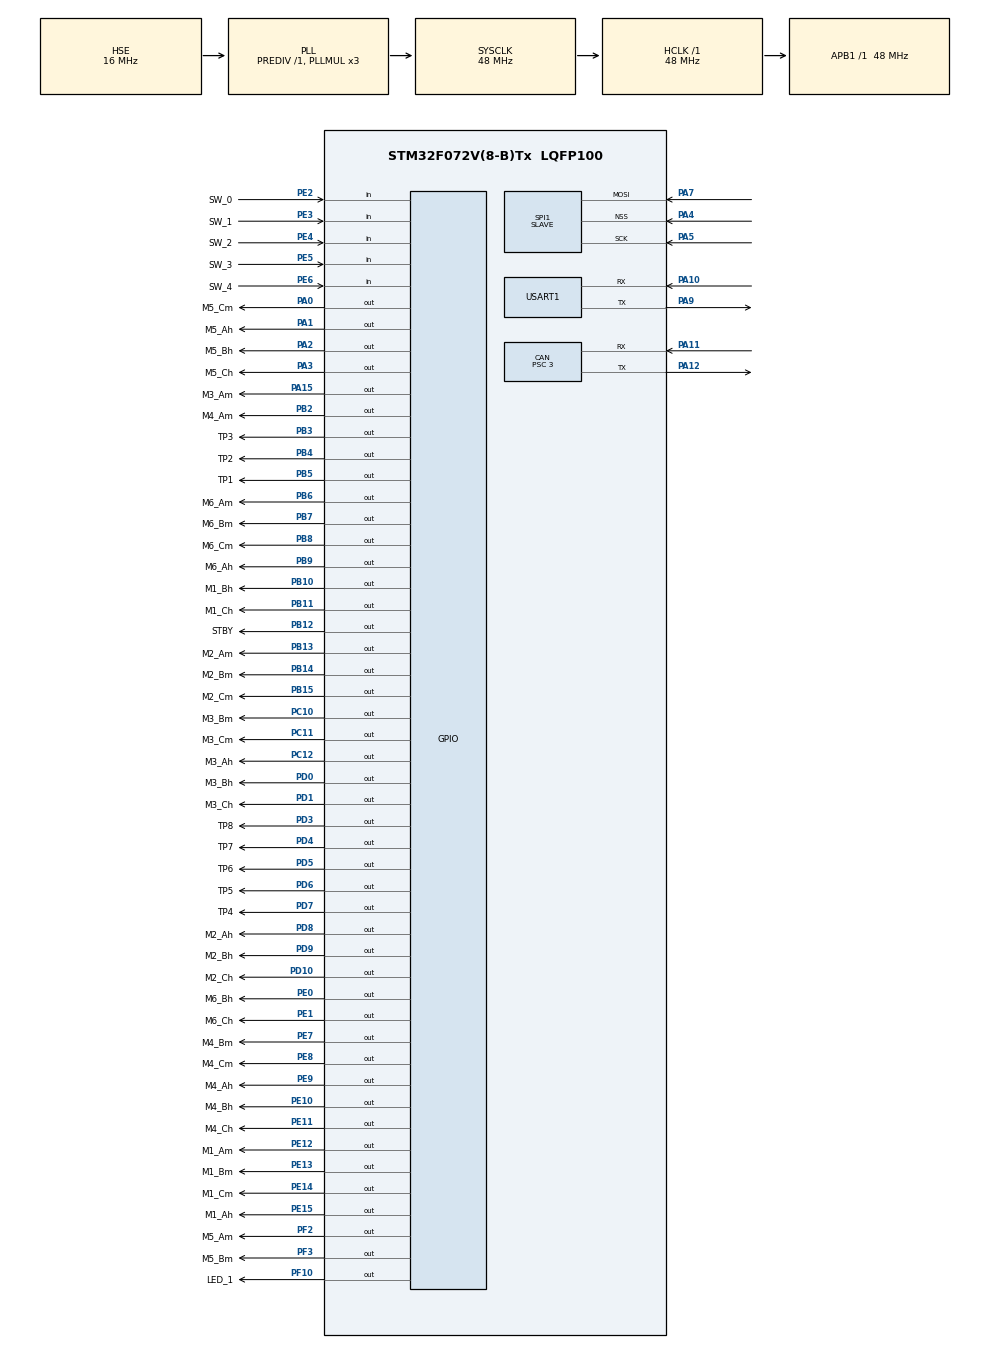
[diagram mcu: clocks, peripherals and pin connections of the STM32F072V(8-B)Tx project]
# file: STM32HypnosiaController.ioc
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CAN.BS1=CAN_BS1_13TQ
CAN.BS2=CAN_BS2_2TQ
CAN.CalculateTimeQuantum=62.5
CAN.Mode=CAN_MODE_NORMAL
CAN.Prescaler=3
Dma.Request0=SPI1_RX
Dma.SPI1_RX.0.Direction=DMA_PERIPH_TO_MEMORY
Dma.SPI1_RX.0.Instance=DMA1_Channel2
Dma.SPI1_RX.0.MemDataAlignment=DMA_MDATAALIGN_BYTE
Dma.SPI1_RX.0.MemInc=DMA_MINC_ENABLE
Dma.SPI1_RX.0.Mode=DMA_CIRCULAR
Dma.SPI1_RX.0.PeriphDataAlignment=DMA_PDATAALIGN_BYTE
Dma.SPI1_RX.0.PeriphInc=DMA_PINC_DISABLE
Dma.SPI1_RX.0.Priority=DMA_PRIORITY_LOW
Mcu.Family=STM32F0
Mcu.Name=STM32F072V(8-B)Tx
Mcu.Package=LQFP100
NVIC.CEC_CAN_IRQn=true\:0\:0\:true\:false\:true\:true\:true
NVIC.DMA1_Channel2_3_IRQn=true\:0\:0\:false\:false\:true\:false\:true
NVIC.SPI1_IRQn=true\:0\:0\:false\:false\:true\:true\:true
PA0.GPIO_Label=M5_Cm
PA0.Signal=GPIO_Output
PA1.GPIO_Label=M5_Ah
PA1.Signal=GPIO_Output
PA10.Mode=Asynchronous
PA10.Signal=USART1_RX
PA11.Mode=Master
PA11.Signal=CAN_RX
PA12.Mode=Master
PA12.Signal=CAN_TX
PA13.Mode=Serial_Wire
PA13.Signal=SYS_SWDIO
PA14.Mode=Serial_Wire
PA14.Signal=SYS_SWCLK
PA15.GPIO_Label=M3_Am
PA15.Signal=GPIO_Output
PA2.GPIO_Label=M5_Bh
PA2.Signal=GPIO_Output
PA3.GPIO_Label=M5_Ch
PA3.Signal=GPIO_Output
PA4.Mode=NSS_Signal_Hard_Input
PA4.Signal=SPI1_NSS
PA5.Mode=RX_Only_Simplex_Unidirect_Slave
PA5.Signal=SPI1_SCK
PA6.Signal=SPI1_MISO
PA7.Mode=RX_Only_Simplex_Unidirect_Slave
PA7.Signal=SPI1_MOSI
PA9.Mode=Asynchronous
PA9.Signal=USART1_TX
PB10.GPIO_Label=M1_Bh
PB10.Signal=GPIO_Output
PB11.GPIO_Label=M1_Ch
PB11.Signal=GPIO_Output
PB12.GPIO_Label=STBY
PB12.Signal=GPIO_Output
PB13.GPIO_Label=M2_Am
PB13.Signal=GPIO_Output
PB14.GPIO_Label=M2_Bm
PB14.Signal=GPIO_Output
PB15.GPIO_Label=M2_Cm
PB15.Signal=GPIO_Output
PB2.GPIO_Label=M4_Am
PB2.Signal=GPIO_Output
PB3.GPIO_Label=TP3
PB3.Signal=GPIO_Output
PB4.GPIO_Label=TP2
PB4.Signal=GPIO_Output
PB5.GPIO_Label=TP1
PB5.Signal=GPIO_Output
PB6.GPIO_Label=M6_Am
PB6.Signal=GPIO_Output
PB7.GPIO_Label=M6_Bm
PB7.Signal=GPIO_Output
PB8.GPIO_Label=M6_Cm
PB8.Signal=GPIO_Output
PB9.GPIO_Label=M6_Ah
PB9.Signal=GPIO_Output
PC10.GPIO_Label=M3_Bm
PC10.Signal=GPIO_Output
PC11.GPIO_Label=M3_Cm
PC11.Signal=GPIO_Output
PC12.GPIO_Label=M3_Ah
PC12.Signal=GPIO_Output
PD0.GPIO_Label=M3_Bh
PD0.Signal=GPIO_Output
PD1.GPIO_Label=M3_Ch
PD1.Signal=GPIO_Output
PD10.GPIO_Label=M2_Ch
PD10.Signal=GPIO_Output
PD3.GPIO_Label=TP8
PD3.Signal=GPIO_Output
PD4.GPIO_Label=TP7
PD4.Signal=GPIO_Output
PD5.GPIO_Label=TP6
PD5.Signal=GPIO_Output
PD6.GPIO_Label=TP5
PD6.Signal=GPIO_Output
PD7.GPIO_Label=TP4
PD7.Signal=GPIO_Output
PD8.GPIO_Label=M2_Ah
PD8.Signal=GPIO_Output
PD9.GPIO_Label=M2_Bh
PD9.Signal=GPIO_Output
PE0.GPIO_Label=M6_Bh
PE0.Signal=GPIO_Output
PE1.GPIO_Label=M6_Ch
PE1.Signal=GPIO_Output
PE10.GPIO_Label=M4_Bh
PE10.Signal=GPIO_Output
PE11.GPIO_Label=M4_Ch
PE11.Signal=GPIO_Output
PE12.GPIO_Label=M1_Am
PE12.Signal=GPIO_Output
PE13.GPIO_Label=M1_Bm
PE13.Signal=GPIO_Output
PE14.GPIO_Label=M1_Cm
PE14.Signal=GPIO_Output
PE15.GPIO_Label=M1_Ah
PE15.Signal=GPIO_Output
PE2.GPIO_Label=SW_0
PE2.GPIO_PuPd=GPIO_PULLDOWN
PE2.Signal=GPIO_Input
PE3.GPIO_Label=SW_1
PE3.GPIO_PuPd=GPIO_PULLDOWN
PE3.Signal=GPIO_Input
PE4.GPIO_Label=SW_2
PE4.GPIO_PuPd=GPIO_PULLDOWN
PE4.Signal=GPIO_Input
PE5.GPIO_Label=SW_3
PE5.GPIO_PuPd=GPIO_PULLDOWN
PE5.Signal=GPIO_Input
PE6.GPIO_Label=SW_4
PE6.GPIO_PuPd=GPIO_PULLDOWN
PE6.Signal=GPIO_Input
PE7.GPIO_Label=M4_Bm
PE7.Signal=GPIO_Output
PE8.GPIO_Label=M4_Cm
PE8.Signal=GPIO_Output
PE9.GPIO_Label=M4_Ah
PE9.Signal=GPIO_Output
PF0-OSC_IN.Mode=HSE-External-Oscillator
PF0-OSC_IN.Signal=RCC_OSC_IN
PF1-OSC_OUT.Mode=HSE-External-Oscillator
PF1-OSC_OUT.Signal=RCC_OSC_OUT
PF10.GPIO_Label=LED_1
PF10.Signal=GPIO_Output
PF2.GPIO_Label=M5_Am
PF2.Signal=GPIO_Output
PF3.GPIO_Label=M5_Bm
PF3.Signal=GPIO_Output
ProjectManager.HeapSize=0x1000
ProjectManager.StackSize=0x1000
ProjectManager.TargetToolchain=STM32CubeIDE
RCC.AHBFreq_Value=48000000
RCC.APB1Freq_Value=48000000
RCC.APB1TimFreq_Value=48000000
RCC.HCLKFreq_Value=48000000
RCC.HSE_VALUE=16000000
RCC.PLLMUL=RCC_PLL_MUL3
RCC.PLLSourceVirtual=RCC_PLLSOURCE_HSE
RCC.SYSCLKFreq_VALUE=48000000
RCC.SYSCLKSource=RCC_SYSCLKSOURCE_PLLCLK
SPI1.DataSize=SPI_DATASIZE_8BIT
SPI1.Direction=SPI_DIRECTION_2LINES_RXONLY
SPI1.Mode=SPI_MODE_SLAVE
SPI1.VirtualNSS=VM_NSSHARD
SPI1.VirtualType=VM_SLAVE
TIM1.Channel-Output\ Compare1\ No\ Output=TIM_CHANNEL_1
USART1.VirtualMode-Asynchronous=VM_ASYNC
VP_TIM1_VS_ClockSourceINT.Mode=Internal
VP_TIM1_VS_no_output1.Mode=Output Compare1 No Output
board=custom

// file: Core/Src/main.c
/* USER CODE BEGIN Header */
/**
  ******************************************************************************
  * @file           : main.c
  * @brief          : Main program body
  ******************************************************************************
  * @attention
  *
  * <h2><center>&copy; Copyright (c) 2020 STMicroelectronics.
  * All rights reserved.</center></h2>
  *
  * This software component is licensed by ST under BSD 3-Clause license,
  * the "License"; You may not use this file except in compliance with the
  * License. You may obtain a copy of the License at:
  *                        opensource.org/licenses/BSD-3-Clause
  *
  ******************************************************************************
  */
/* USER CODE END Header */

#include "main.h"

/* USER CODE BEGIN Includes */
#include "xf/xf.h"
#include "app/factory.h"
/* USER CODE END Includes */

/* USER CODE BEGIN PTD */
CAN_RxHeaderTypeDef myRxMessage;
CAN_TxHeaderTypeDef myTxMessage;
CAN_FilterTypeDef filterConfig;
/* USER CODE END PTD */

CAN_HandleTypeDef hcan;

SPI_HandleTypeDef hspi1;
DMA_HandleTypeDef hdma_spi1_rx;

TIM_HandleTypeDef htim1;

UART_HandleTypeDef huart1;

/* USER CODE BEGIN PV */
char error[200] = {};
/* USER CODE END PV */

void SystemClock_Config(void);
static void MX_GPIO_Init(void);
static void MX_DMA_Init(void);
static void MX_CAN_Init(void);
static void MX_SPI1_Init(void);
static void MX_USART1_UART_Init(void);
static void MX_TIM1_Init(void);

int main(void)
{

  /* MCU Configuration--------------------------------------------------------*/

  /* Reset of all peripherals, Initializes the Flash interface and the Systick. */
  HAL_Init();

  /* Configure the system clock */
  SystemClock_Config();

  /* Initialize all configured peripherals */
  MX_GPIO_Init();
  MX_DMA_Init();
  MX_CAN_Init();
  MX_SPI1_Init();
  MX_USART1_UART_Init();
  MX_TIM1_Init();
  /* USER CODE BEGIN 2 */
  //Filter configuration used for the CAN
  filterConfig.FilterFIFOAssignment = CAN_FILTER_FIFO0;
  filterConfig.FilterIdHigh = 14;
  filterConfig.FilterIdLow = 0;
  filterConfig.FilterMaskIdHigh = 0;
  filterConfig.FilterMaskIdLow = 0;
  filterConfig.FilterScale = CAN_FILTERSCALE_32BIT;
  filterConfig.FilterActivation = ENABLE;
  if(HAL_CAN_ConfigFilter(&hcan, &filterConfig) != HAL_OK)							//Check CAN filter
  {
	  Error_Handler();
  }
  if(HAL_CAN_Start(&hcan) != HAL_OK)  												//Start CAN
  {
	  Error_Handler();
  }
  if(HAL_CAN_ActivateNotification(&hcan, CAN_IT_RX_FIFO0_MSG_PENDING) != HAL_OK)	//Enable CAN interrupt
  {
	  Error_Handler();
  }

  XF_initialize(10);		//Initialize XF
  Factory_initialize();		//Initialize the system
  Factory_build();			//Start behavior of the system
  XF_exec();				//Execute XF
  /* USER CODE END 2 */

  /* Infinite loop */
  while (1)
  {

  }
}

void SystemClock_Config(void)
{
  RCC_OscInitTypeDef RCC_OscInitStruct = {0};
  RCC_ClkInitTypeDef RCC_ClkInitStruct = {0};
  RCC_PeriphCLKInitTypeDef PeriphClkInit = {0};

  /** Initializes the CPU, AHB and APB busses clocks
  */
  RCC_OscInitStruct.OscillatorType = RCC_OSCILLATORTYPE_HSE;
  RCC_OscInitStruct.HSEState = RCC_HSE_ON;
  RCC_OscInitStruct.PLL.PLLState = RCC_PLL_ON;
  RCC_OscInitStruct.PLL.PLLSource = RCC_PLLSOURCE_HSE;
  RCC_OscInitStruct.PLL.PLLMUL = RCC_PLL_MUL3;
  RCC_OscInitStruct.PLL.PREDIV = RCC_PREDIV_DIV1;
  if (HAL_RCC_OscConfig(&RCC_OscInitStruct) != HAL_OK)
  {
    Error_Handler();
  }
  /** Initializes the CPU, AHB and APB busses clocks
  */
  RCC_ClkInitStruct.ClockType = RCC_CLOCKTYPE_HCLK|RCC_CLOCKTYPE_SYSCLK
                              |RCC_CLOCKTYPE_PCLK1;
  RCC_ClkInitStruct.SYSCLKSource = RCC_SYSCLKSOURCE_PLLCLK;
  RCC_ClkInitStruct.AHBCLKDivider = RCC_SYSCLK_DIV1;
  RCC_ClkInitStruct.APB1CLKDivider = RCC_HCLK_DIV1;

  if (HAL_RCC_ClockConfig(&RCC_ClkInitStruct, FLASH_LATENCY_1) != HAL_OK)
  {
    Error_Handler();
  }
  PeriphClkInit.PeriphClockSelection = RCC_PERIPHCLK_USART1;
  PeriphClkInit.Usart1ClockSelection = RCC_USART1CLKSOURCE_PCLK1;
  if (HAL_RCCEx_PeriphCLKConfig(&PeriphClkInit) != HAL_OK)
  {
    Error_Handler();
  }
}

static void MX_CAN_Init(void)
{

  hcan.Instance = CAN;
  hcan.Init.Prescaler = 3;
  hcan.Init.Mode = CAN_MODE_NORMAL;
  hcan.Init.SyncJumpWidth = CAN_SJW_1TQ;
  hcan.Init.TimeSeg1 = CAN_BS1_13TQ;
  hcan.Init.TimeSeg2 = CAN_BS2_2TQ;
  hcan.Init.TimeTriggeredMode = DISABLE;
  hcan.Init.AutoBusOff = DISABLE;
  hcan.Init.AutoWakeUp = DISABLE;
  hcan.Init.AutoRetransmission = DISABLE;
  hcan.Init.ReceiveFifoLocked = DISABLE;
  hcan.Init.TransmitFifoPriority = DISABLE;
  if (HAL_CAN_Init(&hcan) != HAL_OK)
  {
    Error_Handler();
  }

}

static void MX_SPI1_Init(void)
{

  /* SPI1 parameter configuration*/
  hspi1.Instance = SPI1;
  hspi1.Init.Mode = SPI_MODE_SLAVE;
  hspi1.Init.Direction = SPI_DIRECTION_2LINES_RXONLY;
  hspi1.Init.DataSize = SPI_DATASIZE_8BIT;
  hspi1.Init.CLKPolarity = SPI_POLARITY_LOW;
  hspi1.Init.CLKPhase = SPI_PHASE_1EDGE;
  hspi1.Init.NSS = SPI_NSS_HARD_INPUT;
  hspi1.Init.FirstBit = SPI_FIRSTBIT_MSB;
  hspi1.Init.TIMode = SPI_TIMODE_DISABLE;
  hspi1.Init.CRCCalculation = SPI_CRCCALCULATION_DISABLE;
  hspi1.Init.CRCPolynomial = 7;
  hspi1.Init.CRCLength = SPI_CRC_LENGTH_DATASIZE;
  hspi1.Init.NSSPMode = SPI_NSS_PULSE_DISABLE;
  if (HAL_SPI_Init(&hspi1) != HAL_OK)
  {
    Error_Handler();
  }

}

static void MX_TIM1_Init(void)
{

  TIM_ClockConfigTypeDef sClockSourceConfig = {0};
  TIM_MasterConfigTypeDef sMasterConfig = {0};
  TIM_OC_InitTypeDef sConfigOC = {0};
  TIM_BreakDeadTimeConfigTypeDef sBreakDeadTimeConfig = {0};

  htim1.Instance = TIM1;
  htim1.Init.Prescaler = 0;
  htim1.Init.CounterMode = TIM_COUNTERMODE_UP;
  htim1.Init.Period = 0;
  htim1.Init.ClockDivision = TIM_CLOCKDIVISION_DIV1;
  htim1.Init.RepetitionCounter = 0;
  htim1.Init.AutoReloadPreload = TIM_AUTORELOAD_PRELOAD_DISABLE;
  if (HAL_TIM_Base_Init(&htim1) != HAL_OK)
  {
    Error_Handler();
  }
  sClockSourceConfig.ClockSource = TIM_CLOCKSOURCE_INTERNAL;
  if (HAL_TIM_ConfigClockSource(&htim1, &sClockSourceConfig) != HAL_OK)
  {
    Error_Handler();
  }
  if (HAL_TIM_OC_Init(&htim1) != HAL_OK)
  {
    Error_Handler();
  }
  sMasterConfig.MasterOutputTrigger = TIM_TRGO_RESET;
  sMasterConfig.MasterSlaveMode = TIM_MASTERSLAVEMODE_DISABLE;
  if (HAL_TIMEx_MasterConfigSynchronization(&htim1, &sMasterConfig) != HAL_OK)
  {
    Error_Handler();
  }
  sConfigOC.OCMode = TIM_OCMODE_TIMING;
  sConfigOC.Pulse = 0;
  sConfigOC.OCPolarity = TIM_OCPOLARITY_HIGH;
  sConfigOC.OCNPolarity = TIM_OCNPOLARITY_HIGH;
  sConfigOC.OCFastMode = TIM_OCFAST_DISABLE;
  sConfigOC.OCIdleState = TIM_OCIDLESTATE_RESET;
  sConfigOC.OCNIdleState = TIM_OCNIDLESTATE_RESET;
  if (HAL_TIM_OC_ConfigChannel(&htim1, &sConfigOC, TIM_CHANNEL_1) != HAL_OK)
  {
    Error_Handler();
  }
  sBreakDeadTimeConfig.OffStateRunMode = TIM_OSSR_DISABLE;
  sBreakDeadTimeConfig.OffStateIDLEMode = TIM_OSSI_DISABLE;
  sBreakDeadTimeConfig.LockLevel = TIM_LOCKLEVEL_OFF;
  sBreakDeadTimeConfig.DeadTime = 0;
  sBreakDeadTimeConfig.BreakState = TIM_BREAK_DISABLE;
  sBreakDeadTimeConfig.BreakPolarity = TIM_BREAKPOLARITY_HIGH;
  sBreakDeadTimeConfig.AutomaticOutput = TIM_AUTOMATICOUTPUT_DISABLE;
  if (HAL_TIMEx_ConfigBreakDeadTime(&htim1, &sBreakDeadTimeConfig) != HAL_OK)
  {
    Error_Handler();
  }

}

static void MX_USART1_UART_Init(void)
{

  huart1.Instance = USART1;
  huart1.Init.BaudRate = 38400;
  huart1.Init.WordLength = UART_WORDLENGTH_8B;
  huart1.Init.StopBits = UART_STOPBITS_1;
  huart1.Init.Parity = UART_PARITY_NONE;
  huart1.Init.Mode = UART_MODE_TX_RX;
  huart1.Init.HwFlowCtl = UART_HWCONTROL_NONE;
  huart1.Init.OverSampling = UART_OVERSAMPLING_16;
  huart1.Init.OneBitSampling = UART_ONE_BIT_SAMPLE_DISABLE;
  huart1.AdvancedInit.AdvFeatureInit = UART_ADVFEATURE_NO_INIT;
  if (HAL_UART_Init(&huart1) != HAL_OK)
  {
    Error_Handler();
  }

}

static void MX_DMA_Init(void)
{

  /* DMA controller clock enable */
  __HAL_RCC_DMA1_CLK_ENABLE();

  /* DMA interrupt init */
  /* DMA1_Channel2_3_IRQn interrupt configuration */
  HAL_NVIC_SetPriority(DMA1_Channel2_3_IRQn, 0, 0);
  HAL_NVIC_EnableIRQ(DMA1_Channel2_3_IRQn);

}

static void MX_GPIO_Init(void)
{
  GPIO_InitTypeDef GPIO_InitStruct = {0};

  /* GPIO Ports Clock Enable */
  __HAL_RCC_GPIOE_CLK_ENABLE();
  __HAL_RCC_GPIOF_CLK_ENABLE();
  __HAL_RCC_GPIOA_CLK_ENABLE();
  __HAL_RCC_GPIOB_CLK_ENABLE();
  __HAL_RCC_GPIOD_CLK_ENABLE();
  __HAL_RCC_GPIOC_CLK_ENABLE();

  /*Configure GPIO pin Output Level */
  HAL_GPIO_WritePin(GPIOF, LED_1_Pin|M5_Am_Pin|M5_Bm_Pin, GPIO_PIN_RESET);

  /*Configure GPIO pin Output Level */
  HAL_GPIO_WritePin(GPIOA, M5_Cm_Pin|M5_Ah_Pin|M5_Bh_Pin|M5_Ch_Pin
                          |M3_Am_Pin, GPIO_PIN_RESET);

  /*Configure GPIO pin Output Level */
  HAL_GPIO_WritePin(GPIOB, M4_Am_Pin|M1_Bh_Pin|M1_Ch_Pin|STBY_Pin
                          |M2_Am_Pin|M2_Bm_Pin|M2_Cm_Pin|TP3_Pin
                          |TP2_Pin|TP1_Pin|M6_Am_Pin|M6_Bm_Pin
                          |M6_Cm_Pin|M6_Ah_Pin, GPIO_PIN_RESET);

  /*Configure GPIO pin Output Level */
  HAL_GPIO_WritePin(GPIOE, M4_Bm_Pin|M4_Cm_Pin|M4_Ah_Pin|M4_Bh_Pin
                          |M4_Ch_Pin|M1_Am_Pin|M1_Bm_Pin|M1_Cm_Pin
                          |M1_Ah_Pin|M6_Bh_Pin|M6_Ch_Pin, GPIO_PIN_RESET);

  /*Configure GPIO pin Output Level */
  HAL_GPIO_WritePin(GPIOD, M2_Ah_Pin|M2_Bh_Pin|M2_Ch_Pin|M3_Bh_Pin
                          |M3_Ch_Pin|TP8_Pin|TP7_Pin|TP6_Pin
                          |TP5_Pin|TP4_Pin, GPIO_PIN_RESET);

  /*Configure GPIO pin Output Level */
  HAL_GPIO_WritePin(GPIOC, M3_Bm_Pin|M3_Cm_Pin|M3_Ah_Pin, GPIO_PIN_RESET);

  /*Configure GPIO pins : SW_0_Pin SW_1_Pin SW_2_Pin SW_3_Pin
                           SW_4_Pin */
  GPIO_InitStruct.Pin = SW_0_Pin|SW_1_Pin|SW_2_Pin|SW_3_Pin
                          |SW_4_Pin;
  GPIO_InitStruct.Mode = GPIO_MODE_INPUT;
  GPIO_InitStruct.Pull = GPIO_PULLDOWN;
  HAL_GPIO_Init(GPIOE, &GPIO_InitStruct);

  /*Configure GPIO pins : LED_1_Pin M5_Am_Pin M5_Bm_Pin */
  GPIO_InitStruct.Pin = LED_1_Pin|M5_Am_Pin|M5_Bm_Pin;
  GPIO_InitStruct.Mode = GPIO_MODE_OUTPUT_PP;
  GPIO_InitStruct.Pull = GPIO_NOPULL;
  GPIO_InitStruct.Speed = GPIO_SPEED_FREQ_LOW;
  HAL_GPIO_Init(GPIOF, &GPIO_InitStruct);

  /*Configure GPIO pins : M5_Cm_Pin M5_Ah_Pin M5_Bh_Pin M5_Ch_Pin
                           M3_Am_Pin */
  GPIO_InitStruct.Pin = M5_Cm_Pin|M5_Ah_Pin|M5_Bh_Pin|M5_Ch_Pin
                          |M3_Am_Pin;
  GPIO_InitStruct.Mode = GPIO_MODE_OUTPUT_PP;
  GPIO_InitStruct.Pull = GPIO_NOPULL;
  GPIO_InitStruct.Speed = GPIO_SPEED_FREQ_LOW;
  HAL_GPIO_Init(GPIOA, &GPIO_InitStruct);

  /*Configure GPIO pins : M4_Am_Pin M1_Bh_Pin M1_Ch_Pin STBY_Pin
                           M2_Am_Pin M2_Bm_Pin M2_Cm_Pin TP3_Pin
                           TP2_Pin TP1_Pin M6_Am_Pin M6_Bm_Pin
                           M6_Cm_Pin M6_Ah_Pin */
  GPIO_InitStruct.Pin = M4_Am_Pin|M1_Bh_Pin|M1_Ch_Pin|STBY_Pin
                          |M2_Am_Pin|M2_Bm_Pin|M2_Cm_Pin|TP3_Pin
                          |TP2_Pin|TP1_Pin|M6_Am_Pin|M6_Bm_Pin
                          |M6_Cm_Pin|M6_Ah_Pin;
  GPIO_InitStruct.Mode = GPIO_MODE_OUTPUT_PP;
  GPIO_InitStruct.Pull = GPIO_NOPULL;
  GPIO_InitStruct.Speed = GPIO_SPEED_FREQ_LOW;
  HAL_GPIO_Init(GPIOB, &GPIO_InitStruct);

  /*Configure GPIO pins : M4_Bm_Pin M4_Cm_Pin M4_Ah_Pin M4_Bh_Pin
                           M4_Ch_Pin M1_Am_Pin M1_Bm_Pin M1_Cm_Pin
                           M1_Ah_Pin M6_Bh_Pin M6_Ch_Pin */
  GPIO_InitStruct.Pin = M4_Bm_Pin|M4_Cm_Pin|M4_Ah_Pin|M4_Bh_Pin
                          |M4_Ch_Pin|M1_Am_Pin|M1_Bm_Pin|M1_Cm_Pin
                          |M1_Ah_Pin|M6_Bh_Pin|M6_Ch_Pin;
  GPIO_InitStruct.Mode = GPIO_MODE_OUTPUT_PP;
  GPIO_InitStruct.Pull = GPIO_NOPULL;
  GPIO_InitStruct.Speed = GPIO_SPEED_FREQ_LOW;
  HAL_GPIO_Init(GPIOE, &GPIO_InitStruct);

  /*Configure GPIO pins : M2_Ah_Pin M2_Bh_Pin M2_Ch_Pin M3_Bh_Pin
                           M3_Ch_Pin TP8_Pin TP7_Pin TP6_Pin
                           TP5_Pin TP4_Pin */
  GPIO_InitStruct.Pin = M2_Ah_Pin|M2_Bh_Pin|M2_Ch_Pin|M3_Bh_Pin
                          |M3_Ch_Pin|TP8_Pin|TP7_Pin|TP6_Pin
                          |TP5_Pin|TP4_Pin;
  GPIO_InitStruct.Mode = GPIO_MODE_OUTPUT_PP;
  GPIO_InitStruct.Pull = GPIO_NOPULL;
  GPIO_InitStruct.Speed = GPIO_SPEED_FREQ_LOW;
  HAL_GPIO_Init(GPIOD, &GPIO_InitStruct);

  /*Configure GPIO pins : M3_Bm_Pin M3_Cm_Pin M3_Ah_Pin */
  GPIO_InitStruct.Pin = M3_Bm_Pin|M3_Cm_Pin|M3_Ah_Pin;
  GPIO_InitStruct.Mode = GPIO_MODE_OUTPUT_PP;
  GPIO_InitStruct.Pull = GPIO_NOPULL;
  GPIO_InitStruct.Speed = GPIO_SPEED_FREQ_LOW;
  HAL_GPIO_Init(GPIOC, &GPIO_InitStruct);

}

void Error_Handler(void)
{
}

/************************ (C) COPYRIGHT STMicroelectronics *****END OF FILE****/
